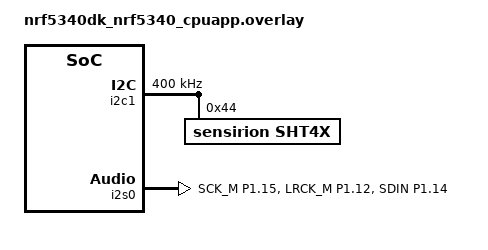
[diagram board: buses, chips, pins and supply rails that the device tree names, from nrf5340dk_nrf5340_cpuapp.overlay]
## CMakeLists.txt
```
# SPDX-License-Identifier: Apache-2.0

cmake_minimum_required(VERSION 3.20.0)

find_package(Zephyr REQUIRED HINTS $ENV{ZEPHYR_BASE})
project(peripheral_hr)

FILE(GLOB app_sources src/*.c)


target_sources(app PRIVATE
  ${app_sources}
  )

# Optionally, include the tests directory if testing
if(CONFIG_TESTING)
    add_subdirectory(tests)
endif()

zephyr_library_include_directories(${ZEPHYR_BASE}/samples/bluetooth)
```

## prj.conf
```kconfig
# BLE
CONFIG_BT=y #enable bluetooth 
CONFIG_LOG=y #Logging
CONFIG_BT_LOG_LEVEL_WRN=y
CONFIG_BT_PERIPHERAL=y #enable periphery service
CONFIG_BT_DEVICE_NAME="Temp and Light" # name used in advertising
CONFIG_BT_DEVICE_APPEARANCE=833 

# SENSORS 
CONFIG_I2C=y
CONFIG_SENSOR=y

# Secure FOTA 
# CONFIG_BOOTLOADER_MCUBOOT=y

# Audio configs 
CONFIG_I2S=y
CONFIG_I2S_NRFX=y

# DSP Configs
CONFIG_REQUIRES_FULL_LIBC=y
CONFIG_REQUIRES_FLOAT_PRINTF=y
CONFIG_CMSIS_DSP=y
CONFIG_CMSIS_DSP_STATISTICS=y
CONFIG_CMSIS_DSP_FILTERING=y
CONFIG_CBPRINTF_FP_SUPPORT=y
CONFIG_CMSIS_DSP_TRANSFORM=y

# State Machine Configs
CONFIG_SMF=y

CONFIG_EVENTS=y
```

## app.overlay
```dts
&temp {
	status = "okay"; 
};
```

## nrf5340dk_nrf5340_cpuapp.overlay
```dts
&i2c1 {
	status = "okay";
	clock-frequency = <I2C_BITRATE_FAST>;
	sht4x@44 {
		status = "okay";
		compatible = "sensirion,sht4x";
		reg = <0x44>;
		repeatability = <2>;
	};
};

&pinctrl {
	i2s0_default_alt: i2s0_default_alt {
		group1 {
			psels = <NRF_PSEL(I2S_SCK_M, 1, 15)>,
				<NRF_PSEL(I2S_LRCK_M, 1, 12)>,
				<NRF_PSEL(I2S_SDIN, 1, 14)>;
		};
	};
};

&clock {
	hfclkaudio-frequency = <11289600>;
};

i2s_rxtx: &i2s0 {
	status = "okay";
	pinctrl-0 = <&i2s0_default_alt>;
	pinctrl-names = "default";
	clock-source = "ACLK";
};
```

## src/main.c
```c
/*
 * Copyright (c) gaiaochos.com
 * SPDX-License-Identifier: Apache-2.0
 */
#include <zephyr/device.h>
#include <zephyr/kernel.h>
#include <zephyr/logging/log.h>

#include "app.h"
#include "audio_service.h"
#include "ble_service.h"
#include "temperature.h"
#include "fsm_service.h"
#include "inference_service.h"

// Enable logs
LOG_MODULE_REGISTER(custom_service_log);

#define THREAD_STACK_SIZE 1024

K_MSGQ_DEFINE(tempmsgq, TEMP_MSG_SIZE, TEMPQSIZE, 2);
K_THREAD_DEFINE(temp_thread_id, THREAD_STACK_SIZE, temp_sensor_thread, NULL, NULL, NULL, 5, 0, 0); 
K_THREAD_DEFINE(ble_temp_thread_id, THREAD_STACK_SIZE, ble_temp_read_thread, NULL, NULL, NULL, 6, 0,0);
// K_THREAD_DEFINE(audio_thread_id, THREAD_STACK_SIZE, audio_sense_thread, NULL, NULL, NULL, 4, 0, 0);
K_THREAD_DEFINE(fsm_thread_id, THREAD_STACK_SIZE, fsm_run_thread, NULL, NULL, NULL, 3, 0 , 0);
K_THREAD_DEFINE(inference_thread_id, THREAD_STACK_SIZE, inference_thread_run, NULL, NULL, NULL, 6, 0, 0);
int main(void) { 
  /*State Machine*/
  fsm_init();

  /*Blocking bluetooth init*/
  ble_service_init();

  /*Bluetooth setup was a success do sensor now*/
  sensor_temp_sensor_init();

  /*Inference Thread Init*/
  inference_init();

  /*Audio Service init*/
  audio_service_init();
 
  /*This becomes our idle loop*/
  while (1) {
    k_sleep(K_SECONDS(2));
  }
}
```

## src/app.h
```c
#ifndef APP_COMMON_H
#define APP_COMMON_H
#include <zephyr/kernel.h>

/*Make a mssq  common to the whole app*/ 
struct current_temp_msg {
	float value; 
};

#define TEMPQSIZE 	2
#define TEMP_MSG_SIZE	sizeof(struct current_temp_msg)

extern struct current_temp_msg curr_msg;

#endif
```

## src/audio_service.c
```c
#include <zephyr/logging/log.h>
#include <zephyr/kernel.h>
#include <arm_math.h>

#include "audio_service.h"
#include "fsm_service.h"

LOG_MODULE_REGISTER(audio_module);

K_MEM_SLAB_DEFINE_STATIC(mem_slab, BLOCK_SIZE, BLOCK_COUNT, 4);
K_MEM_SLAB_DEFINE(inference_slab, BLOCK_SIZE, BLOCK_COUNT, 4);
K_FIFO_DEFINE(infer_fifo);


static const struct device *i2s_dev;

void audio_service_init()
{
	i2s_dev = DEVICE_DT_GET(DT_NODELABEL(i2s0));
	struct i2s_config config;
	int ret;

	config.word_size = SAMPLE_BIT_WIDTH;
	config.channels = NUMBER_OF_CHANNELS;
	config.format = I2S_FMT_DATA_FORMAT_I2S;
	config.options = I2S_OPT_BIT_CLK_MASTER | I2S_OPT_FRAME_CLK_MASTER;
	config.frame_clk_freq = SAMPLE_FREQUENCY;
	config.mem_slab = &mem_slab;
	config.block_size = BLOCK_SIZE;
	config.timeout = TIMEOUT_MS;

	ret = i2s_configure(i2s_dev, I2S_DIR_RX, &config);
	if (ret < 0) {
		LOG_ERR("Failed to configure I2S RX: %d\n", ret);
		return;
	}

	if (!device_is_ready(i2s_dev)) {
		LOG_ERR("I2S device not ready\n");
		return;
	}
}

void audio_sense_thread(void *arg1, void *arg2, void *arg3)
{
	int ret;

	while (1) {
		/*Wait on a semaphore*/
		k_sem_take(&mic_sense_gate, K_FOREVER);

		/* Post an Event to FSM to show MIC capturing*/
		fsm_post_event(EVENT_AUD_SENSE_STARTED);



		/*Check the audio sense gate before working*/
		void *mem_block;
		void *infer_block;
		uint32_t size;

		ret = i2s_trigger(i2s_dev, I2S_DIR_RX, I2S_TRIGGER_START);
		if (ret < 0) {
			LOG_ERR("Failed to start I2S RX: %d \n", ret);
			return;
		}

		LOG_WRN("SENSING AUDIO");
		ret = i2s_read(i2s_dev, &mem_block, &size);
		if (ret == 0) {
			for (int b = 1; b <= 3; b++) {
				ret = k_mem_slab_alloc(&inference_slab, (void **)&infer_block,
						       K_NO_WAIT);
				if (ret == 0) {
					memset(infer_block, 0, size); 
					memcpy(infer_block, mem_block, size);
					k_fifo_put(&infer_fifo, infer_block);
					k_mem_slab_free(&mem_slab, (void *)mem_block);
				} else {
					LOG_ERR("Could not allocate Infer block (%d)", ret);
				}
			}

		} else {
			LOG_ERR("I2S Failed to read %d", ret);
		}

		// 3. Stop capture, then drop any packes
		i2s_trigger(i2s_dev, I2S_DIR_RX, I2S_TRIGGER_STOP);
		i2s_trigger(i2s_dev, I2S_DIR_RX, I2S_TRIGGER_DROP);

		// 4. Sleep before next cycle
		k_sem_give(&mic_sense_gate);
		//SEND A STATE EVENT TO TRIGGER FILTERING
		fsm_post_event(EVENT_AUD_SENSE_END);
		k_sleep(K_SECONDS(2));
	}
}
```

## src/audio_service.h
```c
#ifndef AUDIO_SERVICE_H
#define AUDIO_SERVIC_H
#include <zephyr/device.h>
#include <zephyr/drivers/i2s.h>

#define SAMPLE_FREQUENCY 	44100
/*Mic data sheet*/
#define SAMPLE_BIT_WIDTH 	24
/*24 Bits packed into a 32 bit block*/
#define BYTES_PER_SAMPLE 	sizeof(int32_t)
#define NUMBER_OF_CHANNELS 	1
/*4410 samples so 0.1s*/
#define SAMPLES_PER_BLOCK 	((SAMPLE_FREQUENCY / 10) * NUMBER_OF_CHANNELS)
#define INITIAL_BLOCK_COUNT 	1
#define TIMEOUT_MS 		2000

/*Because i2s_read expects number of bytes*/
#define BLOCK_SIZE 		(BYTES_PER_SAMPLE * SAMPLES_PER_BLOCK) 
/*Enough for 400ms of sound*/
#define BLOCK_COUNT		(INITIAL_BLOCK_COUNT + 3)


/*Filter  Definitions*/
#define NUM_TAPS			53

extern struct k_mem_slab inference_slab;
extern struct k_fifo infer_fifo; 

void audio_service_init();
void audio_sense_thread(void *arg1, void *arg2, void *arg3);
#endif
```

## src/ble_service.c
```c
#include "zephyr/bluetooth/conn.h"
#include <zephyr/bluetooth/bluetooth.h>
#include <zephyr/bluetooth/gatt.h>
#include <zephyr/bluetooth/uuid.h>
#include <zephyr/logging/log.h>
LOG_MODULE_REGISTER(ble_module);

#include "app.h"
#include "ble_service.h"
#include "fsm_service.h"

extern struct state_object state_object;
extern struct k_msgq tempmsgq;

volatile bool ble_ready = false;
int16_t temp_celsius_x100;

/* Error checking function to make sure ble runs well.
 * Enables us to report on Bluetooth
 */
void bt_ready(int err)
{
	if (err) {
		LOG_ERR("bt enable return %d", err);
	}
	LOG_INF("bt ready!");
	ble_ready = true;
}

/* Defining the advertising packets
 * An advertising packet has
 * 1. The name of the service
 * 2. Connection paramters such as intervals
 */
static const struct bt_data advert[] = {
	// enable ble and stop classic bluetooth
	BT_DATA_BYTES(BT_DATA_FLAGS, (BT_LE_AD_GENERAL | BT_LE_AD_NO_BREDR)),
	// our device name
	BT_DATA(BT_DATA_NAME_COMPLETE, CONFIG_BT_DEVICE_NAME, sizeof(CONFIG_BT_DEVICE_NAME) - 1),
};

/* Define a BLE service
 * takes name, primary service and secondary service
 * you can have multiple primary services
 * assign permissions
 * point to function to read
 */
BT_GATT_SERVICE_DEFINE(enviromental_sensing,
    BT_GATT_PRIMARY_SERVICE(BT_UUID_DECLARE_16(0x181A)),
    BT_GATT_CHARACTERISTIC(BT_UUID_DECLARE_16(0x2A6E),
        BT_GATT_CHRC_READ,
        BT_GATT_PERM_READ,
        read_custom_characteristic,
        NULL,
        &temp_celsius_x100)
);

/* function to read characteristic
 * needs to be type defined as follows
 * this function is read in the rx thread and is blocking so use it like an ISR
 */
ssize_t read_custom_characteristic(struct bt_conn *conn,
                                   const struct bt_gatt_attr *attr,
                                   void *buf,
                                   uint16_t len,
                                   uint16_t offset)
{
	LOG_WRN("Temp was read by Central\n");
    int16_t *value = attr->user_data;

    return bt_gatt_attr_read(conn, attr, buf, len, offset, value, sizeof(*value));
}

/*Low Power advertising params*/
static struct bt_le_adv_param lp_adv_params = {
	.options = BT_LE_ADV_OPT_CONN,
	.interval_min = 1600,
	.interval_max = 2000,
};

static struct bt_conn *default_conn;

/* COnnection Callbacks*/
static void connected(struct bt_conn *conn, uint8_t err)
{
	if (err != 0) {
		LOG_ERR("Error occured when connecting (%x)", err);
		/* Should we die */
	}
	LOG_WRN("Connection estalished!");
	/* Post an Event to FSM to show connected*/
	fsm_post_event(EVENT_CENTRAL_CONNECTED);

	default_conn = bt_conn_ref(conn);
}

static void disconnected(struct bt_conn *conn, uint8_t reason)
{
	LOG_ERR("Disconnected with reason: (0x%02x)", reason);

	/*release reference*/
	if (default_conn) {
		bt_conn_unref(default_conn);
		default_conn = NULL;
	}

	/*Post an event to the FSM that we are disconnected*/
	fsm_post_event(EVENT_CENTRAL_DISCONNECTED);	
}

static void advertising_start(void)
{
	int err;

	/*When ready register callbacks to handle connections and notifications*/
	err = bt_le_adv_start(&lp_adv_params, advert, ARRAY_SIZE(advert), NULL, 0);
	if (err) {
		LOG_ERR("advertising failed to start 0x%02x", err);
	}
}
static void on_recycled(void)
{
	advertising_start();
}

static struct bt_conn_cb our_callbacks = {
	.connected = connected,
	.disconnected = disconnected,
	.recycled = on_recycled,
};

void ble_service_init(void)
{
	int err;

	/*Initialize BLE and wait until it is done*/
	err = bt_enable(bt_ready);
	while (!ble_ready) {
		LOG_WRN("bt not ready!");
		k_msleep(100);
	}

	/* Register  connection callbacks*/
	err = bt_conn_cb_register(&our_callbacks);
	if (err != 0U) {
		LOG_ERR("Connection callbacks could not be registered");
		/* how to handle failure*/
	}

	advertising_start();
}

/*BLE Threads*/

/*Read Current Temp Thread*/
void ble_temp_read_thread(void *arg1, void *arg2, void *arg3)
{
	while (1) {
		/*Try to read the queue until it has something*/
		if (k_msgq_get(&tempmsgq, &curr_msg, K_FOREVER) == 0) {
			temp_celsius_x100 = (int16_t)(curr_msg.value * 100.0f);
		}

		// Wait 10s
		k_sleep(K_SECONDS(5));
	}
}
```

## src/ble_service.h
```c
#ifndef BLE_SERVICE_H
#define BLE_SERVICE_H
#include <zephyr/bluetooth/gatt.h>

#ifdef __cplusplus
extern "C" {
#endif

void ble_service_init(void);

extern int16_t temp_celsius_x100;

// call back function that reads the value we need to expose
ssize_t read_custom_characteristic(struct bt_conn *conn,
                                   const struct bt_gatt_attr *attr, void *buf,
                                   // 1. Service offered
                                   uint16_t len, uint16_t offset);

void ble_temp_read_thread(void *arg1, void *arg2, void *arg3); 
#endif
```

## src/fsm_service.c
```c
#include <zephyr/logging/log.h>
#include <zephyr/smf.h>

#include "fsm_service.h"
#include "zephyr/kernel.h"

LOG_MODULE_REGISTER(fsm_module);

/*App Gates*/
K_SEM_DEFINE(temp_sense_gate, 0, 1);
K_SEM_DEFINE(mic_sense_gate, 0, 1);
K_SEM_DEFINE(inference_gate, 0, 1);

/*End Gates*/

static const struct smf_state ble_app_states[];

enum ble_app_state {
	IDLE,
	CONNECTED_PARENT,
	MIC_CAPTURE,
	INFERING,
	ERROR
};

struct state_object {
	/*Must be first for casting*/
	struct smf_ctx state_context;

	/*Rest of the State Stuff*/
	struct k_event smf_event;
	int32_t events;

} state_object;

// idle
static void idle_entry(void *o)
{
	LOG_WRN("Entered Idle");
	k_sem_reset(&mic_sense_gate);
	k_sem_reset(&temp_sense_gate);
    k_sem_reset(&inference_gate);
}
static enum smf_state_result idle_run(void *o)
{
	struct state_object *so = o;

	/*Wait for connect*/
	if (so->events & EVENT_CENTRAL_CONNECTED) {
		LOG_WRN("Go to Connected Parent State");
		smf_set_state(SMF_CTX(&so->state_context), &ble_app_states[CONNECTED_PARENT]);
	}
	return SMF_EVENT_HANDLED;
}
static void idle_exit(void *o)
{
	LOG_WRN("Left Idle");
}

// connected parent
static void connected_parent_entry(void *o)
{
	LOG_WRN("Entering Connected Parent state");
	/*Once connected open the sense gates*/
	k_sem_give(&mic_sense_gate);
	k_sem_give(&temp_sense_gate);
	// k_sem_give(&inference_gate);

}

static enum smf_state_result connected_parent_run(void *o)
{
	struct state_object *so = o;
	if (so->events & EVENT_CENTRAL_DISCONNECTED) {
		LOG_WRN("Go to idle State");
		smf_set_state(SMF_CTX(&so->state_context), &ble_app_states[IDLE]);
	} else if (so->events & EVENT_AUD_SENSE_STARTED) {
		LOG_WRN("Go to MIC Capture State");
		smf_set_state(SMF_CTX(&so->state_context), &ble_app_states[MIC_CAPTURE]);
	}
	return SMF_EVENT_HANDLED;
}

static void connected_parent_exit(void *o)
{
	LOG_WRN("Left Connected Parent state");
}

// mic capture
static void mic_capture_entry(void *o)
{
	LOG_WRN("Entered MIC_CAPTURE"); 
	k_sem_take(&inference_gate, K_NO_WAIT);
}
static enum smf_state_result mic_capture_run(void *o)
{
	struct state_object *so = o;
	if (so->events & EVENT_CENTRAL_DISCONNECTED) {
		LOG_WRN("Go back to Idle State");
		smf_set_state(SMF_CTX(&so->state_context), &ble_app_states[IDLE]);
	} else if (so->events & EVENT_AUD_SENSE_END) {
		LOG_WRN("Go to Infering State");
		smf_set_state(SMF_CTX(&so->state_context), &ble_app_states[INFERING]);
	}
	return SMF_EVENT_HANDLED;
}
static void mic_capture_exit(void *o)
{
	LOG_WRN("Left MIC Capture");
	k_sem_give(&inference_gate);
}

// infering
static void infering_entry(void *o)
{
	LOG_WRN("Entered INFERING");
	k_sem_take(&mic_sense_gate, K_NO_WAIT);
}
static enum smf_state_result infering_run(void *o)
{
	struct state_object *so = o;
	if (so->events & EVENT_CENTRAL_DISCONNECTED) {
		LOG_WRN("Go back to Idle State");
		smf_set_state(SMF_CTX(&so->state_context), &ble_app_states[IDLE]);
	} else if (so->events & EVENT_INFERENCE_END) {
		LOG_WRN("Go to Connected Parent State");
		smf_set_state(SMF_CTX(&so->state_context), &ble_app_states[CONNECTED_PARENT]);
	}
	return SMF_EVENT_HANDLED;
}
static void infering_exit(void *o)
{
	LOG_WRN("Left Infering");
	k_sem_give(&mic_sense_gate);
}

// error state
static void error_entry(void *o)
{
	LOG_WRN("Entered Error");
}
static enum smf_state_result error_run(void *o)
{
	// Do computation here to determine if you want to be here or not
	// or cause some side effect
	smf_set_state(SMF_CTX(&state_object), &ble_app_states[ERROR]);
	return SMF_EVENT_HANDLED;
}

// make a state table
static const struct smf_state ble_app_states[] = {
	[IDLE]            = SMF_CREATE_STATE(idle_entry, idle_run, idle_exit, NULL, NULL),
	[CONNECTED_PARENT]= SMF_CREATE_STATE(connected_parent_entry, connected_parent_run, connected_parent_exit, NULL, NULL),
	[MIC_CAPTURE]     = SMF_CREATE_STATE(mic_capture_entry, mic_capture_run, mic_capture_exit, &ble_app_states[CONNECTED_PARENT], NULL),
	[INFERING]        = SMF_CREATE_STATE(infering_entry, infering_run, infering_exit, &ble_app_states[CONNECTED_PARENT], NULL),
	[ERROR]           = SMF_CREATE_STATE(error_entry, error_run, NULL, NULL, NULL),
};

struct fsm_event {
	uint32_t events;
};

K_MSGQ_DEFINE(fsm_event_q, sizeof(struct fsm_event), 10, 1);

int fsm_post_event(uint32_t events)
{
	LOG_WRN("INCOMING EVENT 0x%08x", events);
	struct fsm_event ev = {
		.events = events,
	};
	return k_msgq_put(&fsm_event_q, &ev, K_NO_WAIT);
}

void fsm_init(void)
{
	/*Initialize events*/
	k_event_init(&state_object.smf_event);

	smf_set_initial(SMF_CTX(&state_object), &ble_app_states[IDLE]);
}

void fsm_run_thread(void *arg1, void *arg2, void *arg3)
{
	while (1) {
		struct fsm_event ev;
		int rc = k_msgq_get(&fsm_event_q, &ev, K_FOREVER);
		if (rc != 0) {
			continue;
		}

		state_object.events = ev.events;

		int ret = smf_run_state(SMF_CTX(&state_object));
		if (ret != 0) {
			LOG_ERR("FSM exploded (%d)", ret);
			break;
		}
	}
}
```

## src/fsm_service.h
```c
#ifndef FSM_SERVICE_H
#define FSM_SERVICE_H
#include <zephyr/sys/util.h>

/*List of App Events & Gates*/
#define EVENT_CENTRAL_CONNECTED    0x0001  // BIT(0)
#define EVENT_TEMP_READ            0x0002  // BIT(1)
#define EVENT_AUDIO_DETECTED       0x0004  // BIT(2)
#define EVENT_ERROR_OCCURED        0x0008  // BIT(3)
#define EVENT_CENTRAL_DISCONNECTED 0x0010  // BIT(4)
#define EVENT_AUD_SENSE_STARTED    0x0020  // BIT(5)
#define EVENT_AUD_SENSE_END        0x0040  // BIT(6)
#define EVENT_INFERENCE_START      0x0080  // BIT(7)
#define EVENT_INFERENCE_END        0x0100  // BIT(8)

extern struct k_sem temp_sense_gate;
extern struct k_sem mic_sense_gate;
extern struct k_sem inference_gate;

/*End List Events & gates*/
void fsm_init(void);
int fsm_post_event(uint32_t events);
void fsm_run_thread(void *arg1, void *arg2, void *arg3);
#endif
```

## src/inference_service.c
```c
#include <zephyr/logging/log.h> 
#include <arm_math.h>

#include "dsp/transform_functions.h"
#include "inference_service.h"
#include "fsm_service.h"
#include "audio_service.h"

LOG_MODULE_REGISTER(inference_module);

static float32_t fir_state[SAMPLES_PER_BLOCK + NUM_TAPS - 1];
float32_t samples_f[SAMPLES_PER_BLOCK];
float32_t fft_samples[SAMPLES_PER_BLOCK];
float32_t filtered_samples[SAMPLES_PER_BLOCK];

const float32_t filter_taps[NUM_TAPS] = {
	0.000000008f,         -0.000000017f,        -0.000005158008031f,  0.000001306510464f,
	0.000133311671510f,   0.000441338085554f,   -0.000003558565317f,  -0.004678776861470f,
	-0.019949989253140f,  -0.050762976431733f,  -0.089992776291018f,  -0.106658945543195f,
	-0.047616537578776f,  0.128400969571106f,   0.268940032322269f,   0.462916716560925f,
	1.178737310340750f,   1.424457502062019f,   -3.207525353661072f,  -19.048378444758412f,
	-47.055221581646288f, -74.530801502545513f, -76.819606475710525f, -34.360189603714439f,
	45.911370731458956f,  126.083204431962914f, 159.765576060044795f, 126.083204431961582f,
	45.911370731459150f,  -34.360189603714272f, -76.819606475710567f, -74.530801502545402f,
	-47.055221581646260f, -19.048378444758388f, -3.207525353661006f,  1.424457502062048f,
	1.178737310340738f,   0.462916716560904f,   0.268940032322248f,   0.128400969571093f,
	-0.047616537578774f,  -0.106658945543187f,  -0.089992776290978f,  -0.050762976431705f,
	-0.019949989253143f,  -0.004678776861483f,  -0.000003558565316f,  0.000441338085556f,
	0.000133311671509f,   0.000001306510473f,   -0.000005158008016f,  0.000000001f,
	0.000000008f};
/*End Coefficients*/


void inference_init() {
	LOG_WRN("Inference initialized"); 
}

void inference_thread_run(void *arg1, void *arg2,  void *arg3) {
	arm_rfft_fast_instance_f32 FFT_INST;
	int fft_flag = 0;
	arm_status fft_s = arm_rfft_fast_init_4096_f32(&FFT_INST);
	LOG_WRN("FFT Init status  %d", fft_s);

	while(1) {
		k_sem_take(&inference_gate, K_FOREVER);
		LOG_WRN("Inference has been run");


		for (int b = 0; b < 3; b++) {
			void *rx_block = k_fifo_get(&infer_fifo, K_NO_WAIT);
			//1.normalize samples 
			int32_t *samples = rx_block;
			
			//Normalize sample
			
			for(int f = 0; f < SAMPLES_PER_BLOCK; f++)
			{
				// convert to float32
				int32_t  sam = samples[f] >> 8; 
				float32_t f_sample = (float32_t)sam / 8388608.0f;
				samples_f[f] = f_sample;
			}
			//2. Compute FFT of samples 
			arm_rfft_fast_f32(&FFT_INST, samples_f, fft_samples, fft_flag); 

			
			for(int f = 0; f < 1; f++)
			{
				LOG_ERR("FFT Sample %d: %f", f, 
						(double)fft_samples[f]);
			}
			
			// 4. Free each block
			k_mem_slab_free(&inference_slab, (void *)rx_block);

		}
		
		// 5 Use hysteresis  to check for clap


				// Apply Filter
				
			
				

		k_sem_give(&inference_gate);
		fsm_post_event(EVENT_INFERENCE_END);
		k_sleep(K_SECONDS(4)); 
	}
}
```

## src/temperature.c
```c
#include <zephyr/drivers/sensor.h>
#include <zephyr/kernel.h>
#include <zephyr/logging/log.h>
#include <zephyr/sys/printk.h>

#include "app.h"
#include "temperature.h"
#include "fsm_service.h"

LOG_MODULE_REGISTER(temperature_module);

extern struct k_msgq tempmsgq;

struct current_temp_msg curr_msg;

static const struct device *temp_sensor;

void sensor_temp_sensor_init()
{
	temp_sensor = DEVICE_DT_GET_ANY(sensirion_sht4x);

	if (!temp_sensor || !device_is_ready(temp_sensor)) {
		LOG_ERR("Device (%s) is not ready", temp_sensor->name);
	}
}

/* Define a Routine to collect sensor readings */
double fetch_temp(const struct device *sensor)
{
	struct sensor_value temp;
	int rc = sensor_sample_fetch(sensor);

	if (rc == -EBADMSG) {
		/*In polling we don't care*/
		rc = 0;
	}

	if (rc == 0U) {
		rc = sensor_channel_get(sensor, SENSOR_CHAN_AMBIENT_TEMP, &temp);
	}

	if (rc != 0U) {
		LOG_ERR("Error: Getting Temp channel fromsensor (%d)", rc);
	}

	return sensor_value_to_double(&temp);
}

/*define a thread to read temps every 2s*/
void temp_sensor_thread(void *arg1, void *arg2, void *arg3)
{
	while (1) {
		/*Check the temp sense gate before running*/
		k_sem_take(&temp_sense_gate, K_FOREVER);

		float curr_temp = (float)fetch_temp(temp_sensor);
		curr_msg.value = curr_temp;

		/*Push the work  into the queue*/
		if (k_msgq_put(&tempmsgq, &curr_msg, K_NO_WAIT) != 0) {
			// Queue is full here  drop the oldest
			LOG_WRN("Temp  Q was full dropping oldest \n");
			struct current_temp_msg throwaway;
			k_msgq_get(&tempmsgq, &throwaway, K_NO_WAIT);
			k_msgq_put(&tempmsgq, &curr_msg, K_NO_WAIT);
		}

		/*Wait 2 seconds and run again*/
		k_sem_give(&temp_sense_gate);
		k_sleep(K_SECONDS(2));
	}
}
```

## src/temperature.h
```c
#ifndef TEMPERATURE_H
#define TEMPERATURE_H
#include <zephyr/device.h>

void sensor_temp_sensor_init();
double fetch_temp(const struct device *sensor);
void temp_sensor_thread(void *arg1 , void *arg2, void *arg3); 
#endif
```
